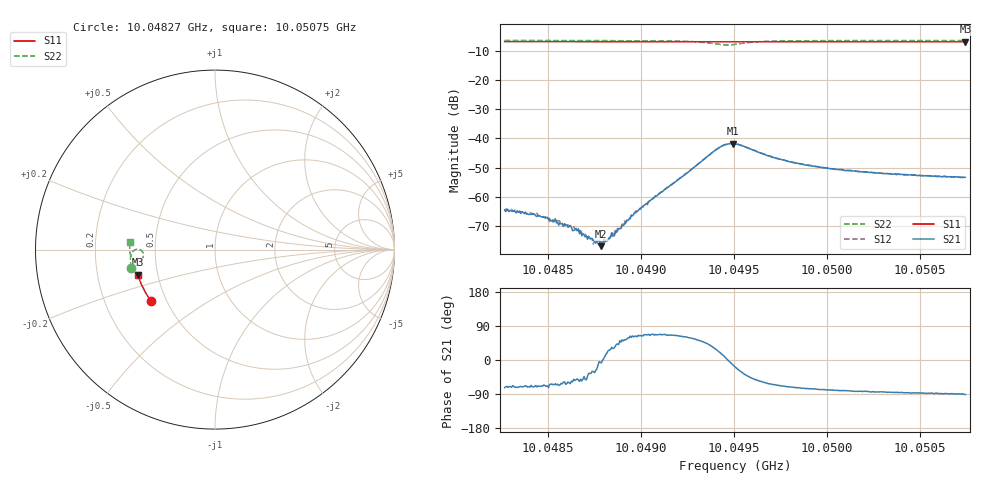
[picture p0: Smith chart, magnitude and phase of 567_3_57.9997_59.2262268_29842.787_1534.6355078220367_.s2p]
#  HZ  S  RI  R  50.00
! Rohde & Schwarz Vector Network Analyzer
! Rohde-Schwarz,ZNB20-2Port,1311601062101988,3.16
! Created: UTC 3/21/2024, 1:15:46 AM
! freq[Hz]  re:S11  im:S11  re:S21  im:S21  re:S12  im:S12  re:S22  im:S22
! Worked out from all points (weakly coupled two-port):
!   401 points, 10.04827 GHz to 10.05075 GHz, reference 50 ohm
!   highest |S21| = -41.79 dB at 10.04949 GHz (marker M1); lowest = -77.0 dB at 10.04879 GHz (marker M2)
!   lowest |S11| = -6.9 dB at 10.05075 GHz (marker M3), VSWR 2.65, Z = 19.3 - j6.76 ohm
!   |S11| at or under -10 dB: nowhere
!   |S22| runs from -8.0 to -6.4 dB; largest |S21 - S12| = 0.0006
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1.0048268e10  -0.3576 -0.284  0.000173 -0.000564  0.000221 -0.000542  -0.4665 -0.1012
1.0048417e10  -0.3634 -0.2759  0.000161 -0.000469  0.000197 -0.00048  -0.4682 -0.0906
1.0048485e10  -0.3659 -0.2722  0.000167 -0.000402  0.000202 -0.000379  -0.4691 -0.0856
1.0048634e10  -0.3716 -0.2642  0.000139 -0.000221  0.000169 -0.000253  -0.4702 -0.0745
1.0048665e10  -0.3726 -0.2625  0.00017 -0.000223  0.000189 -0.000214  -0.4705 -0.0721
1.0048683e10  -0.3734 -0.2614  0.000121 -0.000176  0.000162 -0.000173  -0.4706 -0.0707
1.0048739e10  -0.3753 -0.2584  0.000167 -9.49e-05  0.00017 -8.12e-05  -0.4709 -0.0662
1.0048789e10  -0.3771 -0.2554  0.00014 -1.84e-05  0.000167 -2.77e-06  -0.471 -0.0621
1.004882e10  -0.3782 -0.2538  0.000163 5.7e-05  0.000177 2.75e-05  -0.4713 -0.0597
1.0048838e10  -0.3789 -0.2527  0.000183 9.85e-05  0.000169 0.000109  -0.4713 -0.058
1.0048863e10  -0.3796 -0.2513  0.000189 0.000135  0.000201 0.000169  -0.4713 -0.0558
1.0048931e10  -0.382 -0.2476  0.000206 0.000331  0.00019 0.000348  -0.4711 -0.0496
1.0048962e10  -0.3831 -0.2459  0.00024 0.000435  0.000198 0.000461  -0.471 -0.0467
1.0049098e10  -0.3876 -0.238  0.00044 0.00104  0.00038 0.00106  -0.4689 -0.0325
1.0049408e10  -0.3969 -0.22  0.00577 0.00291  0.00557 0.00331  -0.4157 -0.00141
1.0049451e10  -0.398 -0.2176  0.00766 0.00113  0.00756 0.0016  -0.4002 -0.0189
1.0049495e10  -0.3991 -0.2154  0.00794 -0.00178  0.00805 -0.00122  -0.4014 -0.0442
1.0049507e10  -0.3996 -0.2147  0.00763 -0.00253  0.00785 -0.00203  -0.4051 -0.0503
1.004973e10  -0.4065 -0.2018  0.00182 -0.00416  0.00211 -0.00407  -0.464 -0.0438
1.0049922e10  -0.4116 -0.1902  0.000812 -0.00327  0.00102 -0.00325  -0.4726 -0.0209
1.0050337e10  -0.4217 -0.1649  0.00022 -0.00246  0.000357 -0.00245  -0.4754 0.0147
1.0050746e10  -0.4302 -0.1396  -3.98e-05 -0.00214  0.000139 -0.00217  -0.4738 0.0446
